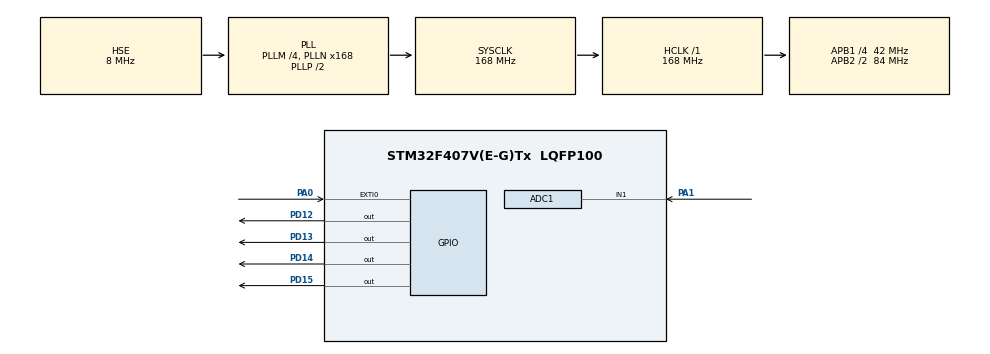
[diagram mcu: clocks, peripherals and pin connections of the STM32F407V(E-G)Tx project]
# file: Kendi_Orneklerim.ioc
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ADC1.Channel-1\#ChannelRegularConversion=ADC_CHANNEL_1
ADC1.ContinuousConvMode=ENABLE
ADC1.DMAContinuousRequests=ENABLE
ADC1.EOCSelection=ADC_EOC_SEQ_CONV
ADC1.NbrOfConversionFlag=1
ADC1.Rank-1\#ChannelRegularConversion=1
ADC1.SamplingTime-1\#ChannelRegularConversion=ADC_SAMPLETIME_480CYCLES
ADC1.ScanConvMode=ENABLE
ADC1.master=1
Dma.ADC1.0.Direction=DMA_PERIPH_TO_MEMORY
Dma.ADC1.0.FIFOMode=DMA_FIFOMODE_DISABLE
Dma.ADC1.0.Instance=DMA2_Stream0
Dma.ADC1.0.MemDataAlignment=DMA_MDATAALIGN_HALFWORD
Dma.ADC1.0.MemInc=DMA_MINC_ENABLE
Dma.ADC1.0.Mode=DMA_CIRCULAR
Dma.ADC1.0.PeriphDataAlignment=DMA_PDATAALIGN_HALFWORD
Dma.ADC1.0.PeriphInc=DMA_PINC_DISABLE
Dma.ADC1.0.Priority=DMA_PRIORITY_LOW
Dma.Request0=ADC1
Mcu.Family=STM32F4
Mcu.Name=STM32F407V(E-G)Tx
Mcu.Package=LQFP100
NVIC.DMA2_Stream0_IRQn=true\:0\:0\:false\:false\:true\:false\:true\:true
NVIC.EXTI0_IRQn=true\:0\:0\:false\:false\:true\:true\:true\:true
NVIC.PriorityGroup=NVIC_PRIORITYGROUP_4
PA0-WKUP.Signal=GPXTI0
PA1.Signal=ADCx_IN1
PD12.Signal=GPIO_Output
PD13.Signal=GPIO_Output
PD14.Signal=GPIO_Output
PD15.Signal=GPIO_Output
PH0-OSC_IN.Mode=HSE-External-Oscillator
PH0-OSC_IN.Signal=RCC_OSC_IN
PH1-OSC_OUT.Mode=HSE-External-Oscillator
PH1-OSC_OUT.Signal=RCC_OSC_OUT
ProjectManager.HeapSize=0x200
ProjectManager.StackSize=0x400
ProjectManager.TargetToolchain=STM32CubeIDE
RCC.48MHZClocksFreq_Value=84000000
RCC.AHBFreq_Value=168000000
RCC.APB1CLKDivider=RCC_HCLK_DIV4
RCC.APB1Freq_Value=42000000
RCC.APB1TimFreq_Value=84000000
RCC.APB2CLKDivider=RCC_HCLK_DIV2
RCC.APB2Freq_Value=84000000
RCC.APB2TimFreq_Value=168000000
RCC.CortexFreq_Value=168000000
RCC.HCLKFreq_Value=168000000
RCC.HSE_VALUE=8000000
RCC.HSI_VALUE=16000000
RCC.LSE_VALUE=32768
RCC.PLLM=4
RCC.PLLN=168
RCC.PLLSourceVirtual=RCC_PLLSOURCE_HSE
RCC.SYSCLKFreq_VALUE=168000000
RCC.SYSCLKSource=RCC_SYSCLKSOURCE_PLLCLK
RCC.VCOOutputFreq_Value=336000000
SH.ADCx_IN1.0=ADC1_IN1,IN1
board=custom

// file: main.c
/* USER CODE BEGIN Header */
/**
  ******************************************************************************
  * @file           : main.c
  * @brief          : Main program body
  ******************************************************************************
  * @attention
  *
  * Copyright (c) 2026 STMicroelectronics.
  * All rights reserved.
  *
  * This software is licensed under terms that can be found in the LICENSE file
  * in the root directory of this software component.
  * If no LICENSE file comes with this software, it is provided AS-IS.
  *
  ******************************************************************************
  */
/* USER CODE END Header */
#include "main.h"

ADC_HandleTypeDef hadc1;
DMA_HandleTypeDef hdma_adc1;

/* USER CODE BEGIN PV */
__IO uint16_t abc[1];

/* USER CODE END PV */

void SystemClock_Config(void);
static void MX_GPIO_Init(void);
static void MX_DMA_Init(void);
static void MX_ADC1_Init(void);

int main(void)
{

  /* MCU Configuration--------------------------------------------------------*/

  /* Reset of all peripherals, Initializes the Flash interface and the Systick. */
  HAL_Init();

  /* Configure the system clock */
  SystemClock_Config();

  /* Initialize all configured peripherals */
  MX_GPIO_Init();
  MX_DMA_Init();
  MX_ADC1_Init();
  /* USER CODE BEGIN 2 */

  HAL_ADC_Start_DMA(&hadc1,(uint32_t*) abc, 1);
  /* USER CODE END 2 */

  /* Infinite loop */
  while (1)
  {

    /* USER CODE BEGIN 3 */

	  if(abc[0]<=1000)
	  {
		  HAL_GPIO_WritePin(GPIOD, GPIO_PIN_12 |  GPIO_PIN_13 |  GPIO_PIN_14 |  GPIO_PIN_15,GPIO_PIN_RESET );
	  }
	  else if(abc[0]>1000 && abc[0]<=2000)
	  {
		  HAL_GPIO_WritePin(GPIOD, GPIO_PIN_12 ,GPIO_PIN_SET );
		  HAL_GPIO_WritePin(GPIOD, GPIO_PIN_13 |  GPIO_PIN_14 |  GPIO_PIN_15,GPIO_PIN_RESET );
      }
	  else if(abc[0]>2000 && abc[0]<=3000)
	  {
		  HAL_GPIO_WritePin(GPIOD, GPIO_PIN_13 ,GPIO_PIN_SET );
		  HAL_GPIO_WritePin(GPIOD, GPIO_PIN_12 |  GPIO_PIN_14 |  GPIO_PIN_15,GPIO_PIN_RESET );
	  }
	  else
	  {
		  HAL_GPIO_WritePin(GPIOD, GPIO_PIN_14 ,GPIO_PIN_SET );
		  HAL_GPIO_WritePin(GPIOD, GPIO_PIN_12 |  GPIO_PIN_13 |  GPIO_PIN_15,GPIO_PIN_RESET );
	  }

  /* USER CODE END 3 */
}
}
void SystemClock_Config(void)
{
  RCC_OscInitTypeDef RCC_OscInitStruct = {0};
  RCC_ClkInitTypeDef RCC_ClkInitStruct = {0};

  /** Configure the main internal regulator output voltage
  */
  __HAL_RCC_PWR_CLK_ENABLE();
  __HAL_PWR_VOLTAGESCALING_CONFIG(PWR_REGULATOR_VOLTAGE_SCALE1);

  /** Initializes the RCC Oscillators according to the specified parameters
  * in the RCC_OscInitTypeDef structure.
  */
  RCC_OscInitStruct.OscillatorType = RCC_OSCILLATORTYPE_HSE;
  RCC_OscInitStruct.HSEState = RCC_HSE_ON;
  RCC_OscInitStruct.PLL.PLLState = RCC_PLL_ON;
  RCC_OscInitStruct.PLL.PLLSource = RCC_PLLSOURCE_HSE;
  RCC_OscInitStruct.PLL.PLLM = 4;
  RCC_OscInitStruct.PLL.PLLN = 168;
  RCC_OscInitStruct.PLL.PLLP = RCC_PLLP_DIV2;
  RCC_OscInitStruct.PLL.PLLQ = 4;
  if (HAL_RCC_OscConfig(&RCC_OscInitStruct) != HAL_OK)
  {
    Error_Handler();
  }

  /** Initializes the CPU, AHB and APB buses clocks
  */
  RCC_ClkInitStruct.ClockType = RCC_CLOCKTYPE_HCLK|RCC_CLOCKTYPE_SYSCLK
                              |RCC_CLOCKTYPE_PCLK1|RCC_CLOCKTYPE_PCLK2;
  RCC_ClkInitStruct.SYSCLKSource = RCC_SYSCLKSOURCE_PLLCLK;
  RCC_ClkInitStruct.AHBCLKDivider = RCC_SYSCLK_DIV1;
  RCC_ClkInitStruct.APB1CLKDivider = RCC_HCLK_DIV4;
  RCC_ClkInitStruct.APB2CLKDivider = RCC_HCLK_DIV2;

  if (HAL_RCC_ClockConfig(&RCC_ClkInitStruct, FLASH_LATENCY_5) != HAL_OK)
  {
    Error_Handler();
  }
}

static void MX_ADC1_Init(void)
{

  ADC_ChannelConfTypeDef sConfig = {0};

  /** Configure the global features of the ADC (Clock, Resolution, Data Alignment and number of conversion)
  */
  hadc1.Instance = ADC1;
  hadc1.Init.ClockPrescaler = ADC_CLOCK_SYNC_PCLK_DIV4;
  hadc1.Init.Resolution = ADC_RESOLUTION_12B;
  hadc1.Init.ScanConvMode = ENABLE;
  hadc1.Init.ContinuousConvMode = ENABLE;
  hadc1.Init.DiscontinuousConvMode = DISABLE;
  hadc1.Init.ExternalTrigConvEdge = ADC_EXTERNALTRIGCONVEDGE_NONE;
  hadc1.Init.ExternalTrigConv = ADC_SOFTWARE_START;
  hadc1.Init.DataAlign = ADC_DATAALIGN_RIGHT;
  hadc1.Init.NbrOfConversion = 1;
  hadc1.Init.DMAContinuousRequests = ENABLE;
  hadc1.Init.EOCSelection = ADC_EOC_SEQ_CONV;
  if (HAL_ADC_Init(&hadc1) != HAL_OK)
  {
    Error_Handler();
  }

  /** Configure for the selected ADC regular channel its corresponding rank in the sequencer and its sample time.
  */
  sConfig.Channel = ADC_CHANNEL_1;
  sConfig.Rank = 1;
  sConfig.SamplingTime = ADC_SAMPLETIME_480CYCLES;
  if (HAL_ADC_ConfigChannel(&hadc1, &sConfig) != HAL_OK)
  {
    Error_Handler();
  }

}

static void MX_DMA_Init(void)
{

  /* DMA controller clock enable */
  __HAL_RCC_DMA2_CLK_ENABLE();

  /* DMA interrupt init */
  /* DMA2_Stream0_IRQn interrupt configuration */
  HAL_NVIC_SetPriority(DMA2_Stream0_IRQn, 0, 0);
  HAL_NVIC_EnableIRQ(DMA2_Stream0_IRQn);

}

static void MX_GPIO_Init(void)
{
  GPIO_InitTypeDef GPIO_InitStruct = {0};

  /* GPIO Ports Clock Enable */
  __HAL_RCC_GPIOH_CLK_ENABLE();
  __HAL_RCC_GPIOA_CLK_ENABLE();
  __HAL_RCC_GPIOD_CLK_ENABLE();

  /*Configure GPIO pin Output Level */
  HAL_GPIO_WritePin(GPIOD, GPIO_PIN_12|GPIO_PIN_13|GPIO_PIN_14|GPIO_PIN_15, GPIO_PIN_RESET);

  /*Configure GPIO pin : PA0 */
  GPIO_InitStruct.Pin = GPIO_PIN_0;
  GPIO_InitStruct.Mode = GPIO_MODE_IT_RISING;
  GPIO_InitStruct.Pull = GPIO_NOPULL;
  HAL_GPIO_Init(GPIOA, &GPIO_InitStruct);

  /*Configure GPIO pins : PD12 PD13 PD14 PD15 */
  GPIO_InitStruct.Pin = GPIO_PIN_12|GPIO_PIN_13|GPIO_PIN_14|GPIO_PIN_15;
  GPIO_InitStruct.Mode = GPIO_MODE_OUTPUT_PP;
  GPIO_InitStruct.Pull = GPIO_NOPULL;
  GPIO_InitStruct.Speed = GPIO_SPEED_FREQ_LOW;
  HAL_GPIO_Init(GPIOD, &GPIO_InitStruct);

  /* EXTI interrupt init*/
  HAL_NVIC_SetPriority(EXTI0_IRQn, 0, 0);
  HAL_NVIC_EnableIRQ(EXTI0_IRQn);

}

/* USER CODE BEGIN 4 */
void HAL_GPIO_EXTI_Callback(uint16_t GPIO_Pin)
{
    // İşlemci NVIC tarafından buraya fırlatıldı!

    // Doğru butona (PA0) basıldığından emin ol
    if(GPIO_Pin == GPIO_PIN_0)
    {
        // 1. Sensör okumasını durdur (DMA'yı kapat)

        // 2. Bütün LED'leri (Yeşil, Turuncu, Mavi) söndür
        HAL_GPIO_WritePin(GPIOD, GPIO_PIN_12 | GPIO_PIN_13 | GPIO_PIN_14, GPIO_PIN_RESET);

        // 3. Acil durum işareti olarak sadece Kırmızı LED'i yak
        HAL_GPIO_WritePin(GPIOD, GPIO_PIN_15, GPIO_PIN_SET);

        // 4. İşlemciyi sonsuza kadar hapset (while(1)'e geri dönemesin)
        HAL_ADC_Stop_DMA(&hadc1);
        while(1)
        {

        	// Sistem kilitlendi. Çıkış yok. (Kart üzerindeki Siyah Reset tuşuna basana kadar)
        }
    }
}
/* USER CODE END 4 */

void Error_Handler(void)
{
  __disable_irq();
  while (1)
  {
  }
}
